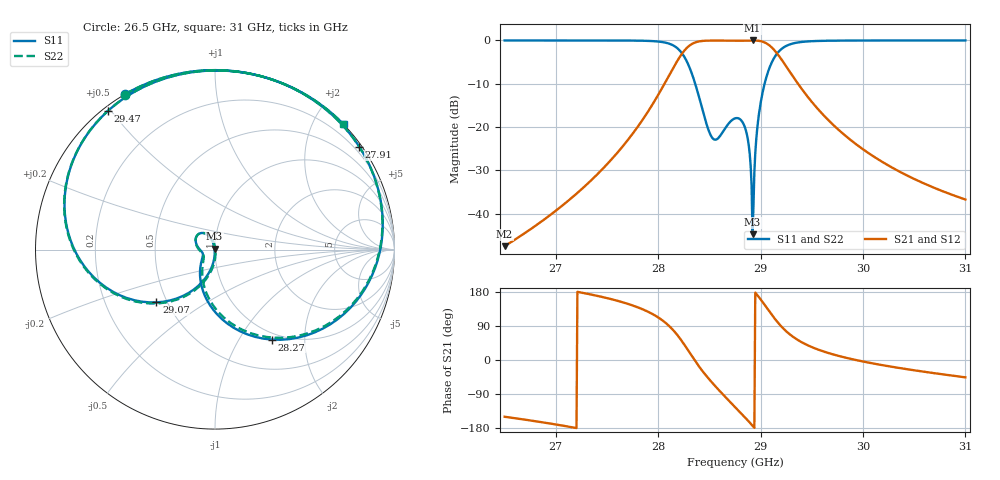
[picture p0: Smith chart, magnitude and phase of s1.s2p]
! Touchstone file from project Ka_PF
! Exported from HFSS 15.0.0
! Variables:
!  AA = 0.34in
!  BB = 0.145in
!  M01 = 0.1638in
!  M11 = 0.2166in
!  M12 = 0.1073in
!  M22 = 0.2395in
!  PL = 0.3in
!  RR = 0.035in
!  TT = 0.04in
!Data is not renormalized
# GHZ S DB
! Modal data exported
! Port[1] = 1:1
! Port[2] = 2:1
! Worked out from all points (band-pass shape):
!   501 points, 26.5 GHz to 31 GHz, reference per port
!   highest |S21| = 0.00 dB at 28.92 GHz (marker M1); lowest = -47.5 dB at 26.5 GHz (marker M2)
!   |S21| within 3 dB of the highest: 28.23 GHz to 29.16 GHz (926.8 MHz wide, 3.23 % of centre)
!   lowest |S11| = -44.8 dB at 28.92 GHz (marker M3), VSWR 1.01
!   |S11| at or under -10 dB: 28.36 GHz to 29.04 GHz (677.6 MHz wide, 2.36 % of centre)
!   |S22| runs from -44.8 to 0.0 dB; largest |S21 - S12| = 1.8e-14
!   S11 on the Smith chart (normalised r, x): 26.5 GHz: 0.00, +0.58; 27.91 GHz: 0.07, +3.13; 28.27 GHz: 0.90, -1.40; 29.07 GHz: 0.44, -0.32; 29.47 GHz: 0.01, +0.49; 31 GHz: 0.00, +2.46
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26.5  -0.00 120.2  -47.51 -149.8  -47.51 -149.8  -0.00 120.3
! Gamma ! -0 419.682052886699 -0 419.682072225394
! Port Impedance 262.304870730552 0 262.307474740406 0
27.256  -0.00 87.5  -34.26 177.6  -34.26 177.6  -0.00 87.6
27.652  -0.02 62.3  -24.50 152.4  -24.50 152.4  -0.02 62.6
27.913  -0.11 35.5  -15.96 125.7  -15.96 125.7  -0.11 35.9
28.003  -0.25 21.5  -12.44 111.8  -12.44 111.8  -0.25 22.1
28.147  -1.15 -11.9  -6.33 78.6  -6.33 78.6  -1.15 -10.9
28.273  -4.54 -57.7  -1.88 33.2  -1.88 33.2  -4.54 -55.9
28.381  -11.56 -102.2  -0.31 -10.4  -0.31 -10.4  -11.56 -98.6
28.525  -22.39 -153.3  -0.03 -59.3  -0.03 -59.3  -22.39 -145.4
28.633  -21.06 176.9  -0.03 -91.1  -0.03 -91.1  -21.06 -179.2
28.75  -17.99 145.7  -0.07 -123.9  -0.07 -123.9  -17.99 146.4
28.858  -20.92 116.4  -0.04 -154.4  -0.04 -154.4  -20.92 114.9
28.921  -44.79 118.7  -0.00 -173.4  -0.00 -173.4  -44.76 74.1
28.939  -30.42 -93.8  -0.00 -179.1  -0.00 -179.1  -30.42 -84.4
28.957  -23.00 -97.3  -0.02 174.9  -0.02 174.9  -23.00 -92.8
28.984  -16.98 -105.6  -0.09 165.7  -0.09 165.7  -16.98 -103.0
29.074  -7.15 -138.0  -0.93 132.6  -0.93 132.6  -7.15 -136.9
29.236  -1.44 169.1  -5.49 79.4  -5.49 79.4  -1.44 169.6
29.47  -0.21 127.5  -13.31 37.6  -13.31 37.6  -0.21 127.8
29.506  -0.16 123.3  -14.36 33.4  -14.36 33.4  -0.16 123.5
30.253  -0.00 73.4  -28.94 -16.6  -28.94 -16.6  -0.00 73.5
31  -0.00 44.2  -36.73 -45.7  -36.73 -45.7  -0.00 44.3
